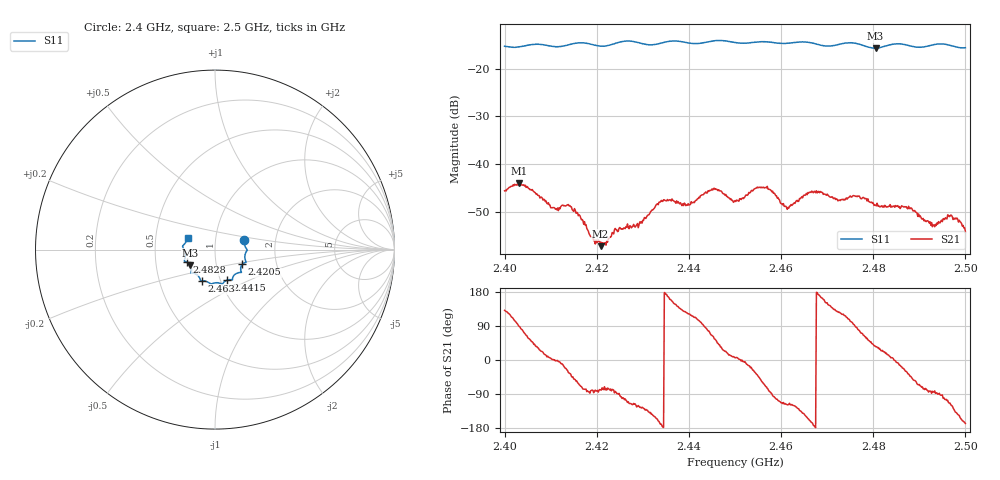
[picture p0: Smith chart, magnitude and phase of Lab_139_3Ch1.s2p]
# Hz S RI R 50
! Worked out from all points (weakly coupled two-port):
!   601 points, 2.4 GHz to 2.5 GHz, reference 50 ohm
!   highest |S21| = -44.01 dB at 2.4032 GHz (marker M1); lowest = -57.2 dB at 2.4208 GHz (marker M2)
!   lowest |S11| = -15.7 dB at 2.4805 GHz (marker M3), VSWR 1.39, Z = 37.3 - j6.69 ohm
!   |S11| at or under -10 dB: start of sweep to end of sweep
!   S12 and S22 are empty: the file has one direction only
!   S11 on the Smith chart (normalised r, x): 2.4 GHz: 1.38, +0.15; 2.4205 GHz: 1.34, -0.22; 2.4415 GHz: 1.07, -0.38; 2.463 GHz: 0.82, -0.29; 2.4828 GHz: 0.72, -0.10; 2.5 GHz: 0.73, +0.10
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2.4e9  0.1635 0.0521  -0.00344 0.00396  0 0  0 0
2.403167e9  0.168 0.0173  0.000171 0.0063  0 0  0 0
2.414e9  0.1688 -0.0577  0.00301 -0.00207  0 0  0 0
2.416667e9  0.173 -0.0699  0.00089 -0.00246  0 0  0 0
2.4205e9  0.152 -0.0816  0.000281 -0.00153  0 0  0 0
2.420833e9  0.1499 -0.0843  0.000267 -0.00136  0 0  0 0
2.4295e9  0.1334 -0.1282  -0.00137 -0.00199  0 0  0 0
2.433333e9  0.1004 -0.1517  -0.00354 -0.00124  0 0  0 0
2.4415e9  0.0657 -0.1707  -0.00154 0.00388  0 0  0 0
2.4455e9  0.0422 -0.1913  0.00312 0.00465  0 0  0 0
2.45e9  0.0241 -0.1864  0.00413 0.000438  0 0  0 0
2.4565e9  -0.0237 -0.1901  0.00222 -0.00524  0 0  0 0
2.461167e9  -0.0576 -0.1747  -0.00161 -0.00317  0 0  0 0
2.463e9  -0.0722 -0.1737  -0.00201 -0.00331  0 0  0 0
2.466667e9  -0.0821 -0.167  -0.00505 -0.00134  0 0  0 0
2.4805e9  -0.1388 -0.0873  0.00302 0.00214  0 0  0 0
2.482833e9  -0.1586 -0.0702  0.00337 0.00111  0 0  0 0
2.483333e9  -0.1624 -0.0681  0.00352 0.000814  0 0  0 0
2.488167e9  -0.1664 -0.0448  0.00252 -0.0024  0 0  0 0
2.493e9  -0.1777 0.00944  0.000222 -0.00229  0 0  0 0
2.496667e9  -0.1734 0.0277  -0.00116 -0.00261  0 0  0 0
2.5e9  -0.1527 0.0644  -0.00192 -0.000425  0 0  0 0
